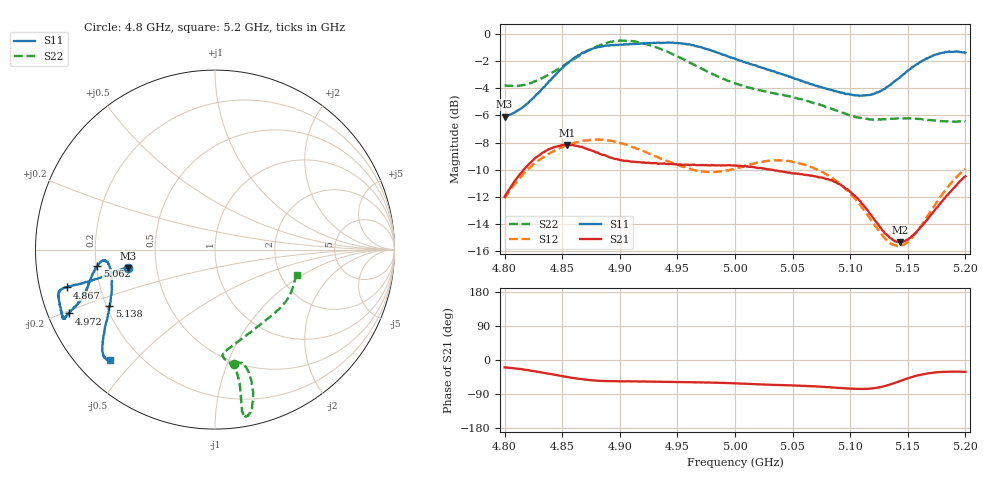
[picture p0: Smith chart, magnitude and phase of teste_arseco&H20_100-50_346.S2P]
! Network Analyzer HP8722D
! Hewlett-Packard
! Data name: Linha & Wilkinson
! Saver's name: Rodrigo Anjos
! Comments: Teste da utilização de aquisição
! continua pelo VNA HP8722D
! Time and date: 6/5/2025 15:27
!  Frequency  S11  S21  S12  S22
# HZ  S  MA R 50
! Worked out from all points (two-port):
!   401 points, 4.8 GHz to 5.2 GHz, reference 50 ohm
!   highest |S21| = -8.17 dB at 4.854 GHz (marker M1); lowest = -15.3 dB at 5.143 GHz (marker M2)
!   |S21| within 3 dB of the highest: 4.806 GHz to 5.093 GHz (286.8 MHz wide, 5.8 % of centre); 5.191856 GHz to end of sweep
!   lowest |S11| = -6.1 dB at 4.8 GHz (marker M3), VSWR 2.97, Z = 17 - j4.61 ohm
!   |S11| at or under -10 dB: nowhere
!   |S22| runs from -6.5 to -0.5 dB; largest |S21 - S12| = 0.62
!   S11 on the Smith chart (normalised r, x): 4.8 GHz: 0.34, -0.09; 4.867 GHz: 0.08, -0.13; 4.972 GHz: 0.06, -0.21; 5.062 GHz: 0.20, -0.07; 5.138 GHz: 0.21, -0.24; 5.2 GHz: 0.09, -0.43
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4.8e9  0.4965 -168.1  0.2514 -19.5  0.2482 -140.7  0.6479 -80.4
4.826e9  0.5874 -167.2  0.3474 -29.5  0.3329 -144.5  0.6682 -75.6
4.854e9  0.7766 -165.8  0.3903 -44.8  0.3892 -149.7  0.7792 -74.6
4.867e9  0.8495 -165.6  0.3845 -50.7  0.403 -151.9  0.842 -75.4
4.88e9  0.8907 -165.4  0.3663 -54.4  0.4088 -154.0  0.8989 -76.7
4.899e9  0.9116 -162.8  0.3446 -56.4  0.3986 -156.6  0.9434 -79.0
4.934e9  0.9289 -156.3  0.3331 -57.5  0.3508 -155.6  0.8838 -80.4
4.951e9  0.9237 -155.4  0.3306 -58.1  0.3289 -152.5  0.8233 -79.9
4.972e9  0.8882 -156.4  0.3295 -59.0  0.3118 -146.1  0.7411 -79.8
5e9  0.8114 -159.0  0.3278 -61.7  0.3201 -137.1  0.6575 -81.2
5.036e9  0.7219 -165.6  0.3145 -65.9  0.3423 -134.3  0.602 -85.6
5.062e9  0.6615 -172.1  0.303 -68.4  0.3287 -136.2  0.568 -83.8
5.067e9  0.6518 -173.0  0.3009 -69.0  0.323 -136.7  0.5596 -82.7
5.086e9  0.6149 -174.4  0.2859 -72.7  0.2919 -138.4  0.5261 -75.3
5.101e9  0.5988 -172.0  0.2604 -75.8  0.256 -138.7  0.5017 -66.6
5.116e9  0.5956 -165.5  0.2212 -75.8  0.2131 -135.5  0.4856 -55.7
5.134e9  0.6464 -154.3  0.1784 -65.2  0.1709 -120.7  0.4874 -43.3
5.138e9  0.6677 -151.7  0.1735 -61.3  0.167 -115.6  0.4877 -40.8
5.143e9  0.6902 -149.2  0.1711 -55.7  0.1659 -109.1  0.4878 -38.1
5.154e9  0.755 -144.4  0.1812 -44.5  0.1786 -95.1  0.488 -32.3
5.173e9  0.8362 -138.8  0.2234 -33.2  0.2329 -80.7  0.4805 -24.3
5.2e9  0.8519 -133.6  0.2994 -31.3  0.3186 -76.9  0.4768 -17.5
